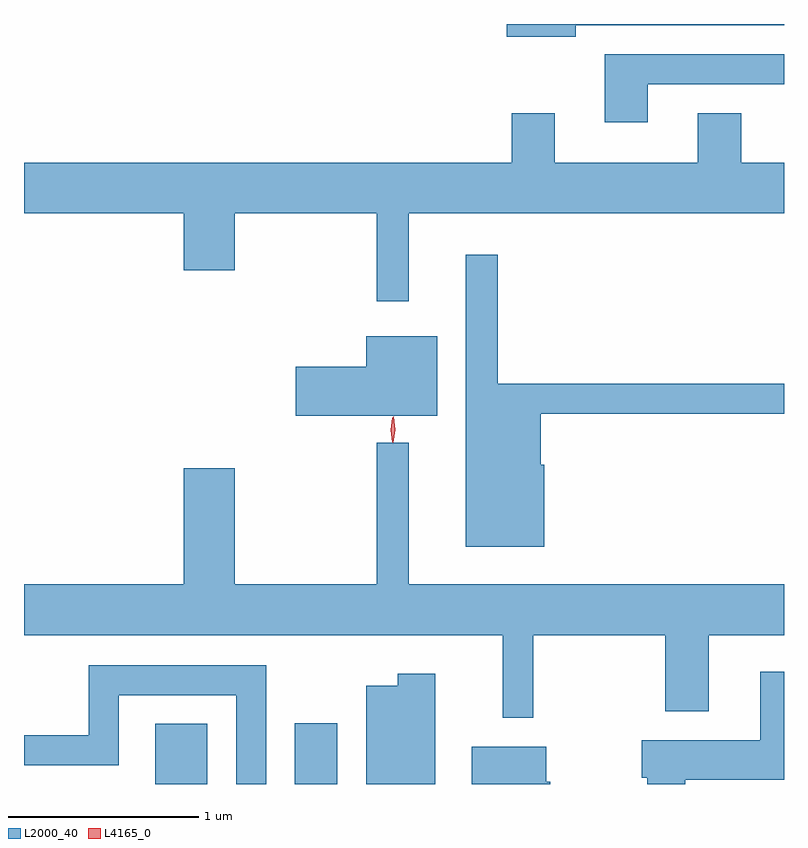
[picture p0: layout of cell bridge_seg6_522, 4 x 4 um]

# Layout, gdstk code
import gdstk
lib = gdstk.Library(unit=1e-6, precision=1e-09)
def R(c, l, rs):  # rectangles x0, y0, x1, y1
    for r in rs: c.add(gdstk.rectangle(r[:2], r[2:], *l))
def P(c, l, *ps):  # polygons
    for p in ps: c.add(gdstk.Polygon(p, *l))
L2000_40 = (2000, 40)
L4165_0 = (4165, 0)

bridge_seg6_522 = lib.new_cell('bridge_seg6_522')
R(bridge_seg6_522, L2000_40, [(434.706,1651.373,434.979,1651.689), (435.441,1651.373,435.664,1651.694)])
P(bridge_seg6_522, L2000_40, [(436.919,1655.366),(438.015,1655.366),(438.015,1655.373),(436.556,1655.373),(436.556,1655.306),(436.919,1655.306)],
  [(437.299,1655.056),(438.015,1655.056),(438.015,1655.214),(437.071,1655.214),(437.071,1654.856),(437.299,1654.856)],
  [(436.039,1654.376),(438.015,1654.376),(438.015,1654.644),(437.789,1654.644),(437.789,1654.904),(437.561,1654.904),(437.561,1654.644),(436.809,1654.644),(436.809,1654.904),(436.581,1654.904),(436.581,1654.644),(434.015,1654.644),(434.015,1654.376),(434.856,1654.376),(434.856,1654.076),(435.124,1654.076),(435.124,1654.376),(435.871,1654.376),(435.871,1653.913),(436.039,1653.913)],
  [(436.754,1653.054),(436.734,1653.054),(436.734,1653.321),(438.015,1653.321),(438.015,1653.479),(436.509,1653.479),(436.509,1654.158),(436.341,1654.158),(436.341,1652.621),(436.754,1652.621)],
  [(436.189,1653.729),(435.816,1653.729),(435.816,1653.569),(435.446,1653.569),(435.446,1653.311),(436.189,1653.311)],
  [(436.694,1652.156),(437.391,1652.156),(437.391,1651.756),(437.619,1651.756),(437.619,1652.156),(438.015,1652.156),(438.015,1652.424),(436.039,1652.424),(436.039,1653.168),(435.871,1653.168),(435.871,1652.424),(435.124,1652.424),(435.124,1653.034),(434.856,1653.034),(434.856,1652.424),(434.015,1652.424),(434.015,1652.156),(436.536,1652.156),(436.536,1651.723),(436.694,1651.723)],
  [(435.289,1651.999),(434.356,1651.999),(434.356,1651.629),(434.015,1651.629),(434.015,1651.471),(434.514,1651.471),(434.514,1651.841),(435.131,1651.841),(435.131,1651.373),(435.289,1651.373)],
  [(437.494,1651.396),(438.015,1651.396),(438.015,1651.964),(437.891,1651.964),(437.891,1651.604),(437.266,1651.604),(437.266,1651.406),(437.296,1651.406),(437.296,1651.373),(437.494,1651.373)],
  [(436.179,1651.954),(435.981,1651.954),(435.981,1651.889),(435.816,1651.889),(435.816,1651.373),(436.179,1651.373)],
  [(436.784,1651.384),(436.764,1651.384),(436.764,1651.569),(436.371,1651.569),(436.371,1651.373),(436.784,1651.373)])
P(bridge_seg6_522, L4165_0, [(435.957,1653.17),(435.948,1653.238),(435.959,1653.305),(435.959,1653.306),(435.96,1653.305),(435.968,1653.238),(435.958,1653.17),(435.958,1653.17)],
  [(435.955,1653.173),(435.954,1653.174),(435.945,1653.236),(435.954,1653.3),(435.955,1653.3),(435.956,1653.3),(435.965,1653.236),(435.956,1653.174)])

lib.write_gds('bridge_seg6_522.gds')
